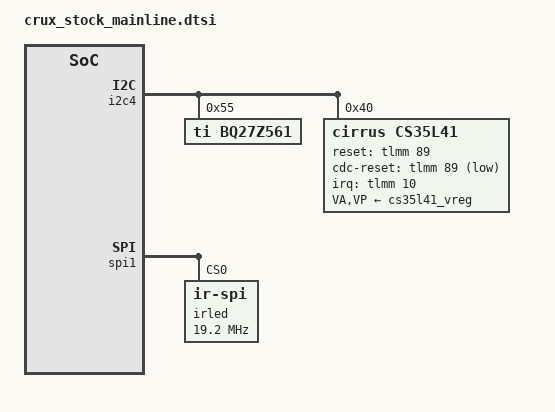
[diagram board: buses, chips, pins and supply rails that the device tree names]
/* 原厂 fdt 里有的、主线驱动能认的那部分（值取自 /root/stock_crux.dts） */

&i2c4 {
	bq27z561@55 {
		compatible = "ti,bq27z561";
		reg = <0x55>;
		bq,charge-full-design = <4000000>;
		bq,recharge-voltage   = <4380>;
		bq,soc_decimal_rate = <
			0  38
			10 35
			20 33
			30 33
			40 33
			50 33
			60 33
			70 30
			80 25
			90 20
			95 10
			99  5 >;
		bq,cold_thermal_seq = <
			1      0  100 1700
			2  (-300)   0 1000 >;
	};
	cs35l41: cs35l41@40 {
		#sound-dai-cells = <1>;
		compatible = "cirrus,cs35l41";
		VA-supply = <&cs35l41_vreg>;
		VP-supply = <&cs35l41_vreg>;
		reset-gpios = <&tlmm 89 GPIO_ACTIVE_HIGH>;
		cs,cdc-reset-gpio = <&tlmm 89 0x01>;
		reg = <0x40>;
		pinctrl-names = "default";
		pinctrl-0 = <&cs35l41_int_default>;
		interrupt-parent = <&tlmm>;
		interrupts = <10 8>;

		cirrus,temp-warn_threshold = <3>;
		cirrus,boost-peak-milliamp = <4000>;
		cirrus,boost-ind-nanohenry = <1000>;
		cirrus,boost-cap-microfarad = <15>;
		cirrus,gpio-config2 {
			cirrus,gpio-src-select = <0x4>;
			cirrus,gpio-output-enable;
		};
	};
};

&spi1 {
	irled@0 {
		compatible = "ir-spi";
		reg = <0x0>;
		status = "ok";
		spi-max-frequency = <19200000>;
	};
};

&tlmm {
		cs35l41_int_default: cs35l41_int_default {
			mux {
				pins = "gpio10";
				function = "gpio";
			};
			config {
				pins = "gpio10";
				bias-pull-up;
				drive-strength = <8>;
				input-enable;
			};
		};
		msm_gpio_119: msm_gpio_119 {
			mux {
				 pins = "gpio119";
				 function = "gpio";
			};

			config {
				pins = "gpio119";
				drive-strength = <2>;
				bias-disable;
				output-low;
			};
		};
		msm_gpio_119_output_high: msm_gpio_119_output_high {
			mux {
				pins = "gpio119";
				function = "gpio";
			};

			config {
				pins = "gpio119";
				drive-strength = <2>;
				bias-disable;
				output-high;
			};
		};
		msm_gpio_27: msm_gpio_27 {
			mux {
				 pins = "gpio27";
				 function = "gpio";
			};

			config {
				pins = "gpio27";
				drive-strength = <2>;
				bias-pull-up;
				input-enable;
			};
		};
		msm_gpio_6: msm_gpio_6 {
			mux {
				 pins = "gpio6";
				 function = "gpio";
			};

			config {
				pins = "gpio6";
				drive-strength = <2>;
				bias-disable;
				output-low;
			};
		};
		msm_gpio_6_output_high: msm_gpio_6_output_high {
			mux {
				pins = "gpio6";
				function = "gpio";
			};

			config {
				pins = "gpio6";
				drive-strength = <2>;
				bias-disable;
				output-high;
			};
		};
		nfc_clk_req_active: nfc_clk_req_active {
			/* active state */
			mux {
				/* 113: NFC CLOCK REQUEST */
				pins = "gpio113";
				function = "gpio";
			};

			config {
				pins = "gpio113";
				drive-strength = <2>; /* 2 MA */
				bias-pull-up;
			};
		};
		nfc_clk_req_suspend: nfc_clk_req_suspend {
			/* sleep state */
			mux {
				/* 113: NFC CLOCK REQUEST */
				pins = "gpio113";
				function = "gpio";
			};

			config {
				pins = "gpio113";
				drive-strength = <2>; /* 2 MA */
				bias-disable;
			};
		};
		nfc_enable_active: nfc_enable_active {
			/* active state */
			mux {
				/* 36: NFC ENABLE 48:ESE Enable */
				pins = "gpio36", "gpio48";
				function = "gpio";
			};

			config {
				pins = "gpio41", "gpio48";
				drive-strength = <2>; /* 2 MA */
				bias-pull-up;
			};
		};
		nfc_enable_suspend: nfc_enable_suspend {
			/* sleep state */
			mux {
				/* 36: NFC ENABLE 48:ESE Enable */
				pins = "gpio36", "gpio48";
				function = "gpio";
			};

			config {
				pins = "gpio41", "gpio48";
				drive-strength = <2>; /* 2 MA */
				bias-disable;
			};
		};
		nfc_int_active: nfc_int_active {
			/* active state */
			mux {
				/* GPIO 47 NFC Read Interrupt */
				pins = "gpio47";
				function = "gpio";
			};

			config {
				pins = "gpio47";
				drive-strength = <2>; /* 2 MA */
				bias-pull-up;
			};
		};
		nfc_int_suspend: nfc_int_suspend {
			/* sleep state */
			mux {
				/* GPIO 47 NFC Read Interrupt */
				pins = "gpio47";
				function = "gpio";
			};

			config {
				pins = "gpio47";
				drive-strength = <2>; /* 2 MA */
				bias-pull-up;
			};
		};
	ts_active: ts-active-state {
		pins = "gpio122", "gpio12";
		function = "gpio";
		drive-strength = <8>;
		bias-pull-up;
	};
	ts_int_suspend: ts-int-suspend-state {
		pins = "gpio122";
		function = "gpio";
		drive-strength = <2>;
		bias-pull-down;
		input-enable;
	};
	ts_reset_suspend: ts-reset-suspend-state {
		pins = "gpio12";
		function = "gpio";
		drive-strength = <2>;
		bias-disable;
		output-low;
	};
};

